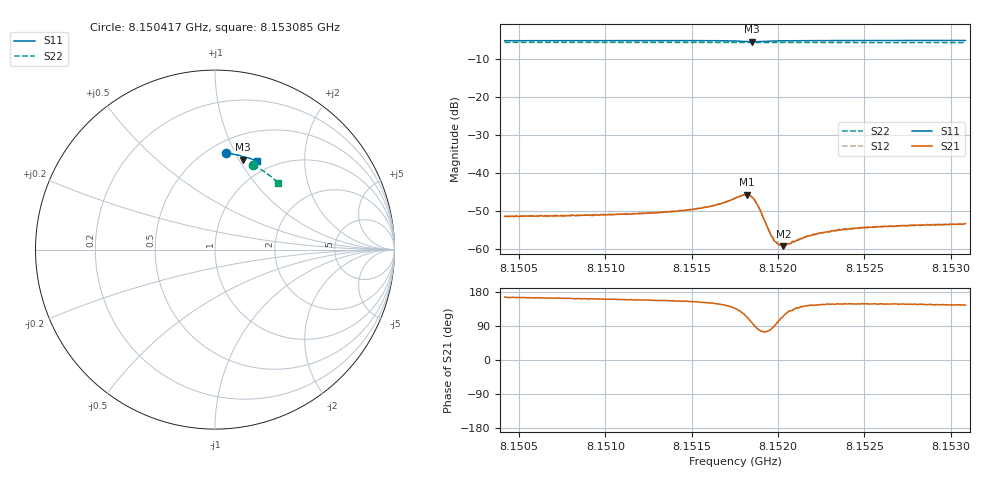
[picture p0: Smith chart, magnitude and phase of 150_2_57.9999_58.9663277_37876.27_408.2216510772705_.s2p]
#  HZ  S  RI  R  50.00
! Rohde & Schwarz Vector Network Analyzer
! Rohde-Schwarz,ZNB20-2Port,1311601062101988,3.16
! Created: UTC 3/21/2024, 12:56:59 AM
! freq[Hz]  re:S11  im:S11  re:S21  im:S21  re:S12  im:S12  re:S22  im:S22
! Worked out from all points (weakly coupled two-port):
!   401 points, 8.150417 GHz to 8.153085 GHz, reference 50 ohm
!   highest |S21| = -45.71 dB at 8.151817 GHz (marker M1); lowest = -59.2 dB at 8.152031 GHz (marker M2)
!   lowest |S11| = -5.6 dB at 8.151851 GHz (marker M3), VSWR 3.20, Z = 37.5 + j51.8 ohm
!   |S11| at or under -10 dB: nowhere
!   |S22| runs from -5.8 to -5.8 dB; largest |S21 - S12| = 0.00015
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8.1504166e9  0.0611 0.5379  -0.00262 0.000649  -0.0026 0.000727  0.2127 0.4691
8.1508635e9  0.0926 0.5341  -0.00264 0.000883  -0.00266 0.000903  0.2385 0.4561
8.1513104e9  0.1242 0.5281  -0.00279 0.00118  -0.00278 0.00121  0.2633 0.4416
8.1514639e9  0.1355 0.5252  -0.00296 0.00136  -0.00295 0.00141  0.2717 0.4361
8.1515973e9  0.146 0.5217  -0.00315 0.00173  -0.00311 0.00182  0.2788 0.4314
8.1516706e9  0.1521 0.5187  -0.00331 0.00217  -0.0033 0.00227  0.2826 0.4285
8.1517507e9  0.1588 0.5125  -0.00335 0.00321  -0.00336 0.00329  0.2868 0.4256
8.1518174e9  0.1589 0.5031  -0.00214 0.00472  -0.00209 0.00478  0.2901 0.4228
8.1518374e9  0.1561 0.5011  -0.00123 0.00488  -0.00116 0.00494  0.2908 0.4221
8.1518507e9  0.1537 0.5008  -0.000594 0.00475  -0.00051 0.00479  0.2916 0.4216
8.1518641e9  0.1516 0.5017  4.28e-06 0.0044  7.18e-05 0.00444  0.2922 0.4213
8.1518841e9  0.1495 0.5044  0.000546 0.00366  0.000624 0.00362  0.2931 0.4207
8.1519508e9  0.1531 0.513  0.000338 0.00164  0.000352 0.00167  0.2967 0.4187
8.1519708e9  0.1553 0.5142  0.000108 0.00141  0.000118 0.00139  0.2978 0.4178
8.1519975e9  0.1583 0.515  -0.000217 0.00116  -0.000184 0.00116  0.2992 0.4167
8.1520108e9  0.1596 0.5153  -0.000313 0.00109  -0.000302 0.00107  0.2999 0.4163
8.1520308e9  0.1616 0.5155  -0.000477 0.000989  -0.000491 0.00103  0.301 0.4155
8.1520575e9  0.1644 0.5155  -0.000718 0.000945  -0.000671 0.000952  0.3023 0.4145
8.1521976e9  0.1763 0.5135  -0.00125 0.000892  -0.00127 0.000903  0.3095 0.4091
8.1523643e9  0.1888 0.5101  -0.00152 0.000953  -0.00152 0.000995  0.3179 0.4022
8.1526445e9  0.2079 0.5033  -0.0017 0.00107  -0.00168 0.00108  0.3315 0.3906
8.1530847e9  0.2366 0.4913  -0.00177 0.00126  -0.00177 0.00127  0.3519 0.3716
